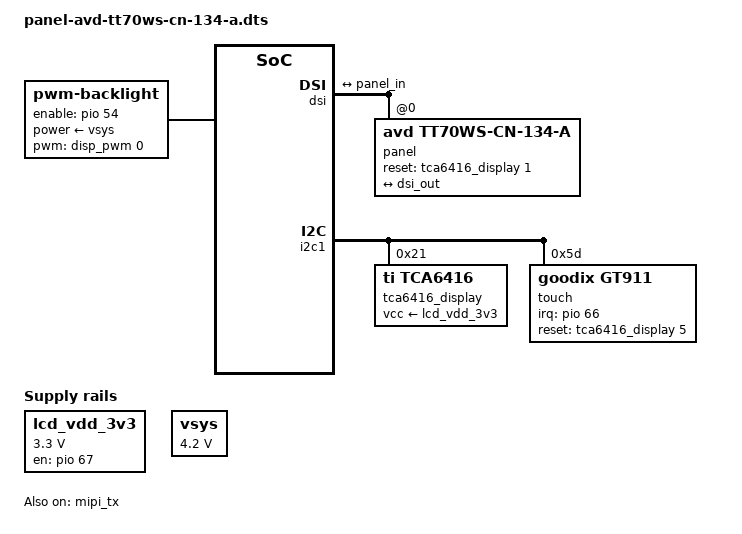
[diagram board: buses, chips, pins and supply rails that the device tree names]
#include <dt-bindings/gpio/gpio.h>

#include "mt8167-pinfunc.h"
#include "dt-bindings/interrupt-controller/irq.h"

/dts-v1/;
/plugin/;

/ {
	fragment@0 {
		target = <&dsi>;
		__overlay__ {
			status = "okay";
			#address-cells = <1>;
			#size-cells = <0>;

			ports {
				port@0 {
					reg = <0>;

					dsi_out: endpoint {
						remote-endpoint = <&panel_in>;
					};
				};
			};

			panel@0 {
				compatible = "avd,tt70ws-cn-134-a";
				reg = <0>;
				reset-gpios = <&tca6416_display 1 GPIO_ACTIVE_HIGH>;

				port {
					panel_in: endpoint {
						remote-endpoint = <&dsi_out>;
					};
				};
			};
		};
	};

	fragment@1 {
		target = <&i2c1>;
		__overlay__ {
			clock-div = <2>;
			pinctrl-names = "default";
			pinctrl-0 = <&i2c1_pins_a>;
			status = "okay";
			#address-cells = <1>;
			#size-cells = <0>;

			tca6416_display: gpio@21 {
				compatible = "ti,tca6416";
				reg = <0x21>;
				pinctrl-names = "default";
				pinctrl-0 = <&pins_lcd_vdd_en>;
				vcc-supply = <&lcd_vdd_3v3>;

				gpio-controller;
				#gpio-cells = <2>;

				lcd_stdbyb {
					gpio-hog;
					gpios = <0 0>;
					output-high;
				};
				lcd_bl_enb {
					gpios = <4 0>;
					output-high;
				};
			};

			touch: gt911@5d {
				compatible = "goodix,gt911";
				reg = <0x5d>;
				pinctrl-names = "default";
				pinctrl-0 = <&ts_pins>;
				interrupt-parent = <&pio>;
				interrupts = <66 IRQ_TYPE_EDGE_FALLING>;
				irq-gpios = <&pio 66 GPIO_ACTIVE_HIGH>;
				reset-gpios = <&tca6416_display 5 GPIO_ACTIVE_HIGH>;
			};
		};
	};

	fragment@2 {
		target = <&mipi_tx>;
		__overlay__ {
			status = "okay";
		};
	};

	fragment@3 {
		target = <&pio>;
		__overlay__ {
			i2c1_pins_a: i2c1@0 {
				pins1 {
					pinmux = <MT8167_PIN_52_SDA1__FUNC_SDA1_0>,
						 <MT8167_PIN_53_SCL1__FUNC_SCL1_0>;
					bias-disable;
				};
			};

			ts_pins: ts_pins {
				pins_ctp_int1 {
					pinmux = <MT8167_PIN_66_LCM_RST__FUNC_GPIO66>;
					input-enable;
					bias-disable;
				};

			};

			pins_lcd_vdd_en: pins_lcd_vdd_en {
				pins1 {
					pinmux = <MT8167_PIN_67_DSI_TE__FUNC_GPIO67>;
				};
			};

		};
	};

	fragment@4 {
		target-path = "/";
		__overlay__ {
			lcd_vdd_3v3: fixedregulator {
				compatible = "regulator-fixed";
				regulator-name = "lcd_vdd_3v3";
				regulator-min-microvolt = <3300000>;
				regulator-max-microvolt = <3300000>;
				gpio = <&pio 67 GPIO_ACTIVE_HIGH>;
				enable-active-high;
				regulator-always-on;
			};

			vsys: lcd_vsys {
				compatible = "regulator-fixed";
				regulator-name = "vsys";
				regulator-min-microvolt = <4200000>;
				regulator-max-microvolt = <4200000>;
				regulator-always-on;
			};

			backlight: backlight_panel0 {
				compatible = "pwm-backlight";
				pwms = <&disp_pwm 0 1000000>;
				power-supply = <&vsys>;
				enable-gpios = <&pio 54 GPIO_ACTIVE_HIGH>;
				brightness-levels = <0 4 8 16 32 64 128 255>;
				default-brightness-level = <6>;
				status = "okay";

			};
		};
	};
};
